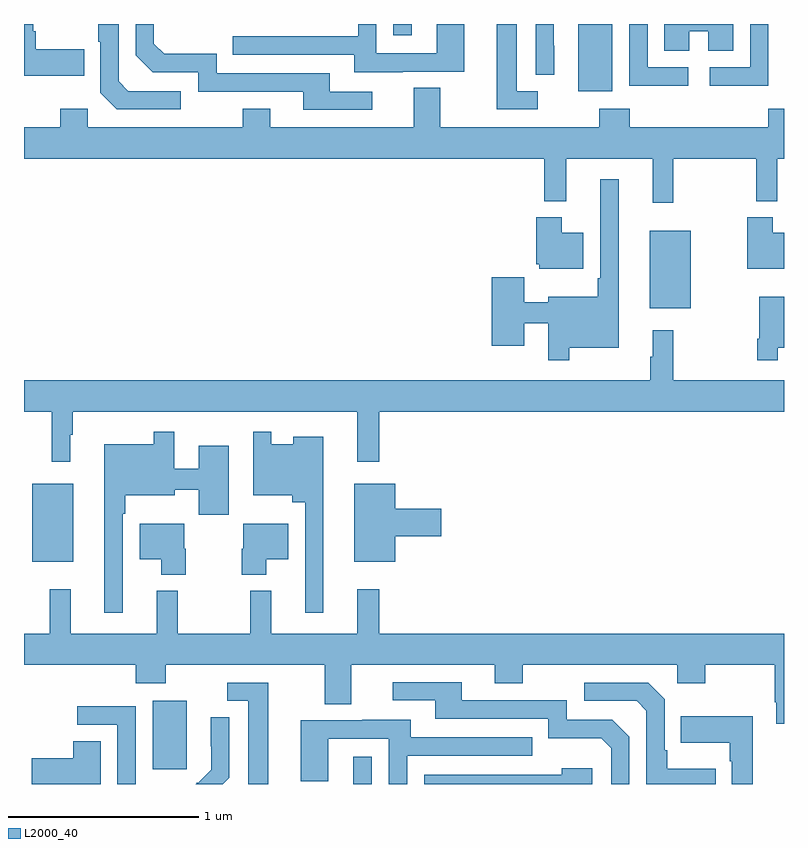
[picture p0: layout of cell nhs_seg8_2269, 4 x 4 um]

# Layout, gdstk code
import gdstk
lib = gdstk.Library(unit=1e-6, precision=1e-09)
def R(c, l, rs):  # rectangles x0, y0, x1, y1
    for r in rs: c.add(gdstk.rectangle(r[:2], r[2:], *l))
def P(c, l, *ps):  # polygons
    for p in ps: c.add(gdstk.Polygon(p, *l))
L2000_40 = (2000, 40)

nhs_seg8_2269 = lib.new_cell('nhs_seg8_2269')
R(nhs_seg8_2269, L2000_40, [(256.733,1087.9,256.83,1088.044), (255.677,1087.977,255.856,1088.338), (255.044,1089.071,255.259,1089.481), (258.293,1090.403,258.508,1090.813), (257.918,1091.546,258.097,1091.9), (256.944,1091.841,257.041,1091.9)])
P(nhs_seg8_2269, L2000_40, [(256.834,1091.544),(256.609,1091.544),(256.609,1091.64),(256.014,1091.64),(256.014,1091.743),(255.737,1091.743),(255.684,1091.796),(255.684,1091.9),(255.588,1091.9),(255.588,1091.736),(255.678,1091.646),(255.918,1091.646),(255.918,1091.544),(256.469,1091.544),(256.469,1091.448),(256.834,1091.448)],
  [(257.704,1091.547),(257.593,1091.547),(257.593,1091.9),(257.489,1091.9),(257.489,1091.451),(257.704,1091.451)],
  [(258.502,1091.861),(258.602,1091.861),(258.602,1091.758),(258.733,1091.758),(258.733,1091.9),(258.371,1091.9),(258.371,1091.758),(258.502,1091.758)],
  [(255.826,1091.547),(255.549,1091.547),(255.498,1091.598),(255.498,1091.9),(255.39,1091.9),(255.39,1091.807),(255.402,1091.807),(255.402,1091.538),(255.489,1091.451),(255.826,1091.451)],
  [(255.317,1091.767),(255.061,1091.767),(255.061,1091.863),(255.048,1091.863),(255.048,1091.9),(255,1091.9),(255,1091.627),(255.317,1091.627)],
  [(256.993,1091.649),(257.317,1091.649),(257.317,1091.9),(257.172,1091.9),(257.172,1091.745),(256.854,1091.745),(256.854,1091.9),(256.758,1091.9),(256.758,1091.835),(256.099,1091.835),(256.099,1091.739),(256.739,1091.739),(256.739,1091.645),(256.993,1091.645)],
  [(258.496,1091.673),(258.282,1091.673),(258.282,1091.9),(258.186,1091.9),(258.186,1091.575),(258.496,1091.575)],
  [(257.79,1091.786),(257.789,1091.786),(257.789,1091.9),(257.694,1091.9),(257.694,1091.632),(257.79,1091.632)],
  [(258.918,1091.9),(258.822,1091.9),(258.822,1091.673),(258.609,1091.673),(258.609,1091.575),(258.918,1091.575)],
  [(258.418,1091.192),(258.855,1091.192),(258.855,1090.967),(258.965,1090.967),(258.965,1091.192),(259,1091.192),(259,1091.455),(258.916,1091.455),(258.916,1091.356),(258.188,1091.356),(258.188,1091.455),(258.028,1091.455),(258.028,1091.356),(257.191,1091.356),(257.191,1091.564),(257.051,1091.564),(257.051,1091.356),(256.297,1091.356),(256.297,1091.455),(256.15,1091.455),(256.15,1091.356),(255.336,1091.356),(255.336,1091.455),(255.19,1091.455),(255.19,1091.356),(255,1091.356),(255,1091.192),(257.737,1091.192),(257.737,1090.967),(257.855,1090.967),(257.855,1091.192),(258.308,1091.192),(258.308,1090.959),(258.418,1090.959)],
  [(257.869,1090.196),(258.13,1090.196),(258.13,1091.083),(258.033,1091.083),(258.033,1090.561),(258.021,1090.561),(258.021,1090.465),(257.759,1090.465),(257.759,1090.435),(257.632,1090.435),(257.632,1090.567),(257.462,1090.567),(257.462,1090.206),(257.632,1090.206),(257.632,1090.326),(257.76,1090.326),(257.76,1090.131),(257.869,1090.131)],
  [(257.944,1090.801),(257.83,1090.801),(257.83,1090.882),(257.696,1090.882),(257.696,1090.635),(257.712,1090.635),(257.712,1090.613),(257.944,1090.613)],
  [(259,1090.801),(258.94,1090.801),(258.94,1090.882),(258.806,1090.882),(258.806,1090.613),(259,1090.613)],
  [(258.966,1090.196),(259,1090.196),(259,1090.465),(258.87,1090.465),(258.87,1090.243),(258.858,1090.243),(258.858,1090.131),(258.966,1090.131)],
  [(255.244,1089.737),(255.256,1089.737),(255.256,1089.86),(256.754,1089.86),(256.754,1089.597),(256.871,1089.597),(256.871,1089.86),(259,1089.86),(259,1090.024),(258.418,1090.024),(258.418,1090.288),(258.308,1090.288),(258.308,1090.148),(258.297,1090.148),(258.297,1090.024),(255,1090.024),(255,1089.86),(255.145,1089.86),(255.145,1089.597),(255.244,1089.597)],
  [(255.519,1089.323),(255.532,1089.323),(255.532,1089.419),(255.793,1089.419),(255.793,1089.449),(255.92,1089.449),(255.92,1089.318),(256.078,1089.318),(256.078,1089.679),(255.92,1089.679),(255.92,1089.559),(255.792,1089.559),(255.792,1089.754),(255.684,1089.754),(255.684,1089.688),(255.422,1089.688),(255.422,1088.802),(255.519,1088.802)],
  [(256.576,1089.727),(256.418,1089.727),(256.418,1089.688),(256.302,1089.688),(256.302,1089.754),(256.206,1089.754),(256.206,1089.419),(256.411,1089.419),(256.411,1089.383),(256.479,1089.383),(256.479,1088.802),(256.576,1088.802)],
  [(256.954,1089.203),(257.197,1089.203),(257.197,1089.35),(256.954,1089.35),(256.954,1089.481),(256.739,1089.481),(256.739,1089.071),(256.954,1089.071)],
  [(256.276,1089.083),(256.39,1089.083),(256.39,1089.271),(256.154,1089.271),(256.154,1089.138),(256.147,1089.138),(256.147,1089.002),(256.276,1089.002)],
  [(255.852,1089.138),(255.844,1089.138),(255.844,1089.271),(255.608,1089.271),(255.608,1089.083),(255.722,1089.083),(255.722,1089.002),(255.852,1089.002)],
  [(259,1088.692),(256.871,1088.692),(256.871,1088.926),(256.754,1088.926),(256.754,1088.692),(256.301,1088.692),(256.301,1088.917),(256.191,1088.917),(256.191,1088.692),(255.808,1088.692),(255.808,1088.917),(255.698,1088.917),(255.698,1088.692),(255.245,1088.692),(255.245,1088.926),(255.135,1088.926),(255.135,1088.692),(255,1088.692),(255,1088.528),(255.587,1088.528),(255.587,1088.429),(255.747,1088.429),(255.747,1088.528),(256.583,1088.528),(256.583,1088.32),(256.723,1088.32),(256.723,1088.528),(257.477,1088.528),(257.477,1088.429),(257.625,1088.429),(257.625,1088.528),(258.438,1088.528),(258.438,1088.429),(258.585,1088.429),(258.585,1088.528),(258.952,1088.528),(258.952,1088.329),(258.959,1088.329),(258.959,1088.217),(259,1088.217)],
  [(258.186,1088.148),(258.096,1088.238),(257.856,1088.238),(257.856,1088.34),(257.305,1088.34),(257.305,1088.436),(256.941,1088.436),(256.941,1088.34),(257.165,1088.34),(257.165,1088.244),(257.76,1088.244),(257.76,1088.141),(258.037,1088.141),(258.09,1088.088),(258.09,1087.9),(258.186,1087.9)],
  [(258.641,1087.981),(258.385,1087.981),(258.385,1088.077),(258.372,1088.077),(258.372,1088.346),(258.285,1088.433),(257.949,1088.433),(257.949,1088.337),(258.225,1088.337),(258.276,1088.286),(258.276,1087.9),(258.641,1087.9)],
  [(256.285,1088.433),(256.071,1088.433),(256.071,1088.337),(256.181,1088.337),(256.181,1087.9),(256.285,1087.9)],
  [(255.588,1088.31),(255.279,1088.31),(255.279,1088.211),(255.492,1088.211),(255.492,1087.9),(255.588,1087.9)],
  [(258.835,1088.257),(258.457,1088.257),(258.457,1088.117),(258.714,1088.117),(258.714,1088.021),(258.726,1088.021),(258.726,1087.9),(258.835,1087.9)],
  [(256.08,1087.934),(256.08,1088.252),(255.984,1088.252),(255.984,1088.098),(255.986,1088.098),(255.986,1087.976),(255.915,1087.905),(255.912,1087.908),(255.904,1087.9),(256.046,1087.9)],
  [(257.016,1088.049),(257.675,1088.049),(257.675,1088.145),(257.035,1088.145),(257.035,1088.239),(256.781,1088.239),(256.781,1088.235),(256.457,1088.235),(256.457,1087.915),(256.602,1087.915),(256.602,1088.139),(256.92,1088.139),(256.92,1087.9),(257.016,1087.9)],
  [(255.403,1088.126),(255.26,1088.126),(255.26,1088.036),(255.042,1088.036),(255.042,1087.9),(255.403,1087.9)],
  [(257.992,1087.984),(257.831,1087.984),(257.831,1087.95),(257.106,1087.95),(257.106,1087.9),(257.992,1087.9)])

lib.write_gds('nhs_seg8_2269.gds')
